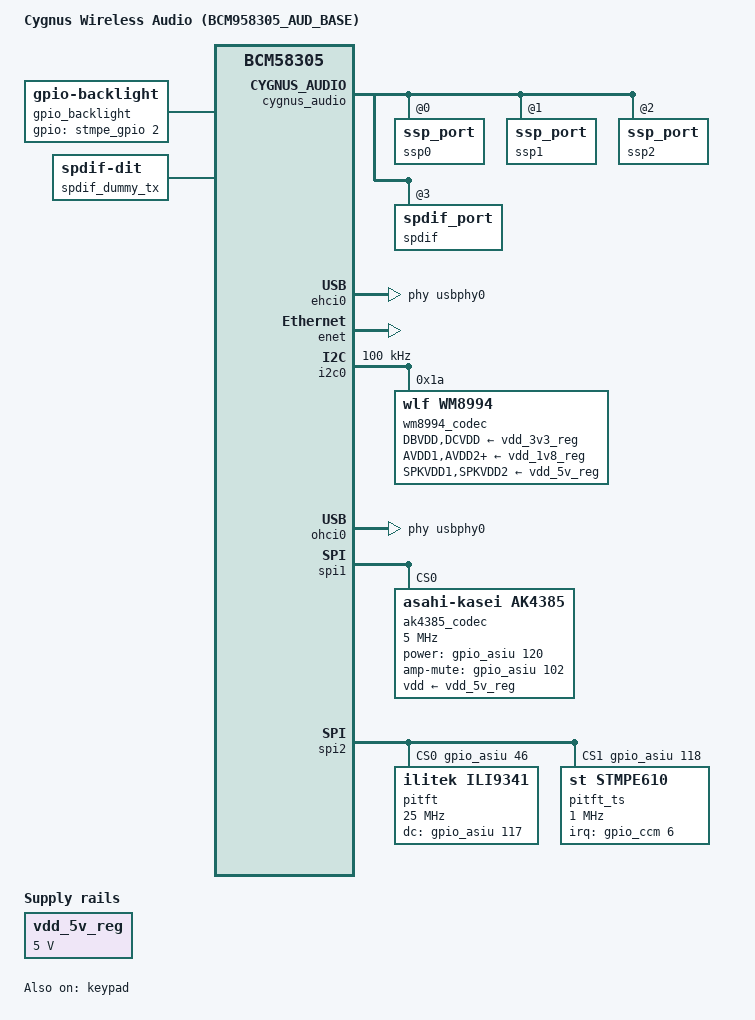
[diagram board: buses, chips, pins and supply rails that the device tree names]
/*
 *  BSD LICENSE
 *
 *  Copyright(c) 2017 Broadcom.  All rights reserved.
 *
 *  Redistribution and use in source and binary forms, with or without
 *  modification, are permitted provided that the following conditions
 *  are met:
 *
 *    * Redistributions of source code must retain the above copyright
 *      notice, this list of conditions and the following disclaimer.
 *    * Redistributions in binary form must reproduce the above copyright
 *      notice, this list of conditions and the following disclaimer in
 *      the documentation and/or other materials provided with the
 *      distribution.
 *    * Neither the name of Broadcom Corporation nor the names of its
 *      contributors may be used to endorse or promote products derived
 *      from this software without specific prior written permission.
 *
 *  THIS SOFTWARE IS PROVIDED BY THE COPYRIGHT HOLDERS AND CONTRIBUTORS
 *  "AS IS" AND ANY EXPRESS OR IMPLIED WARRANTIES, INCLUDING, BUT NOT
 *  LIMITED TO, THE IMPLIED WARRANTIES OF MERCHANTABILITY AND FITNESS FOR
 *  A PARTICULAR PURPOSE ARE DISCLAIMED. IN NO EVENT SHALL THE COPYRIGHT
 *  OWNER OR CONTRIBUTORS BE LIABLE FOR ANY DIRECT, INDIRECT, INCIDENTAL,
 *  SPECIAL, EXEMPLARY, OR CONSEQUENTIAL DAMAGES (INCLUDING, BUT NOT
 *  LIMITED TO, PROCUREMENT OF SUBSTITUTE GOODS OR SERVICES; LOSS OF USE,
 *  DATA, OR PROFITS; OR BUSINESS INTERRUPTION) HOWEVER CAUSED AND ON ANY
 *  THEORY OF LIABILITY, WHETHER IN CONTRACT, STRICT LIABILITY, OR TORT
 *  (INCLUDING NEGLIGENCE OR OTHERWISE) ARISING IN ANY WAY OUT OF THE USE
 * OF THIS SOFTWARE, EVEN IF ADVISED OF THE POSSIBILITY OF SUCH DAMAGE.
 */

/dts-v1/;

#include "bcm958305_audio_sa.dtsi"

/ {
	model = "Cygnus Wireless Audio (BCM958305_AUD_BASE)";
	compatible = "brcm,bcm58305", "brcm,cygnus";

	gpio_backlight: backlight {
		compatible = "gpio-backlight";
		gpios = <&stmpe_gpio 2 0>;
		default-on;
	};

	vdd_5v_reg: regulator@3 {
		compatible = "regulator-fixed";
		regulator-name = "vdd-5v-reg";
		regulator-min-microvolt = <5000000>;
		regulator-max-microvolt = <5000000>;
		regulator-always-on;
	};

	sound {
		compatible = "brcm,bcm958305-aud-base-machine";
		status = "okay";

		link0 {
			format = "i2s";
			bitclock-master = <&dailink0_master>;
			frame-master = <&dailink0_master>;

			dailink0_master: cpu {
				sound-dai = <&cygnus_audio 0>;
			};

			codec {
				sound-dai = <&wm8994_codec 0>; /* wm8994-aif1 */
			};
		} ;

		link1 {
			format = "i2s";
			bitclock-master = <&dailink1_master>;
			frame-master = <&dailink1_master>;

			dailink1_master: cpu {
				sound-dai = <&cygnus_audio 1>;
			};

			codec {
				sound-dai = <&ak4385_codec>;
			};
		};

		link2 {
			format = "i2s";
			bitclock-master = <&dailink2_master>;
			frame-master = <&dailink2_master>;

			dailink2_master: cpu {
				sound-dai = <&cygnus_audio 3>;
			};

			codec {
				sound-dai = <&spdif_dummy_tx>;
			};
		};
	};

	/* dummy codec to model spdif tx */
	spdif_dummy_tx: spdif_tx {
		#sound-dai-cells = <0>;
		status = "okay";
		compatible = "linux,spdif-dit";
	};
};

&cygnus_audio {
	#sound-dai-cells = <1>;

	ssp0: ssp_port@0 {
		status = "okay";
	};

	ssp1: ssp_port@1 {
		status = "okay";
	};

	ssp2: ssp_port@2 {
		status = "okay";
	};

	spdif: spdif_port@3 {
		status = "okay";
	};
};

&dte {
	brcm,dte-interval-ns = <10000000>;
};

&ehci0 {
	phys = <&usbphy0 0>;
	phy-names = "usbp0";
	status = "okay";
};

&enet {
	status = "okay";
};

&i2c0 {
	clock-frequency = <100000>;
	status = "okay";

	wm8994_codec: wm8994@1a {
		#sound-dai-cells = <1>;
		compatible = "wlf,wm8994";
		reg = <0x1a>;

		gpio-controller;
		#gpio-cells = <2>;

		DBVDD-supply = <&vdd_3v3_reg>;
		DCVDD-supply = <&vdd_3v3_reg>;
		AVDD1-supply = <&vdd_1v8_reg>;
		AVDD2-supply = <&vdd_1v8_reg>;
		CPVDD-supply = <&vdd_1v8_reg>;
		SPKVDD1-supply = <&vdd_5v_reg>;
		SPKVDD2-supply = <&vdd_5v_reg>;
	};
};

&keypad {
	keypad,num-rows = <5>;
	keypad,num-columns = <2>;
	status = "okay";

	linux,keymap = <MATRIX_KEY(0x00, 0x00, KEY_1) /* key_1 */
	MATRIX_KEY(0x01, 0x00, KEY_2) /* key_2 */
	MATRIX_KEY(0x02, 0x00, KEY_3) /* key_3 */
	MATRIX_KEY(0x03, 0x01, KEY_4) /* key_4 */
	MATRIX_KEY(0x04, 0x01, KEY_5) /* key_5 */
	>;
};

&ohci0 {
	phys = <&usbphy0 0>;
	phy-names = "usbp0";
	status = "okay";
};

&pinctrl {
	pinctrl-names = "default";
	pinctrl-0 = <&keypad_on &i2s0_default_mux
		&i2s1_default_mux &i2s2_default_mux &dte_lts_0>;
	keypad_on: keypad_on {
		function = "key";
		groups = "key0_grp", "key1_grp", "key8_grp",
			 "key9_grp", "key10_grp", "key11_grp",
			 "key12_grp";
	};
};

&spi1 {
	status = "okay";
	num-cs = <1>;

	ak4385_codec: ak4385@0 {
		#sound-dai-cells = <0>;
		compatible = "asahi-kasei,ak4385";
		reg = <0>;
		spi-max-frequency = <5000000>;
		spi-cpol;
		spi-cpha;
		power-gpio = <&gpio_asiu 120 0>;
		amp-mute-gpio = <&gpio_asiu 102 0>;
		vdd-supply = <&vdd_5v_reg>;
	};
};


&spi2 {
	status = "okay";
	num-cs = <2>;
	cs-gpios = <&gpio_asiu 46 0>, <&gpio_asiu 118 0>;

	pitft: pitft@0{
		compatible = "ilitek,ili9341";
		reg = <0>;
		spi-max-frequency = <25000000>;
		pl022,com-mode = <0>;
		rotate = <270>;
		fps = <10>;
		bgr;
		buswidth = <8>;
		dc-gpios = <&gpio_asiu 117 0>;
		debug = <0>;
	};

	pitft_ts@1 {
		compatible = "st,stmpe610";
		reg = <1>;
		spi-max-frequency = <1000000>;
		irq-gpio = <&gpio_ccm 6 0>;
		interrupt-parent = <&gpio_ccm>;
		interrupt-controller;

		stmpe_touchscreen {
			compatible = "st,stmpe-ts";
			st,sample-time = <4>;
			st,mod-12b = <1>;
			st,ref-sel = <0>;
			st,adc-freq = <2>;
			st,ave-ctrl = <3>;
			st,touch-det-delay = <4>;
			st,settling = <2>;
			st,fraction-z = <7>;
			st,i-drive = <0>;
		};

		stmpe_gpio: stmpe_gpio {
			#gpio-cells = <2>;
			compatible = "st,stmpe-gpio";
			/*
			 * only GPIO2 is wired/available
			 * and it is wired to the backlight
			 */
			st,norequest-mask = <0x7b>;
		};
	};
};
